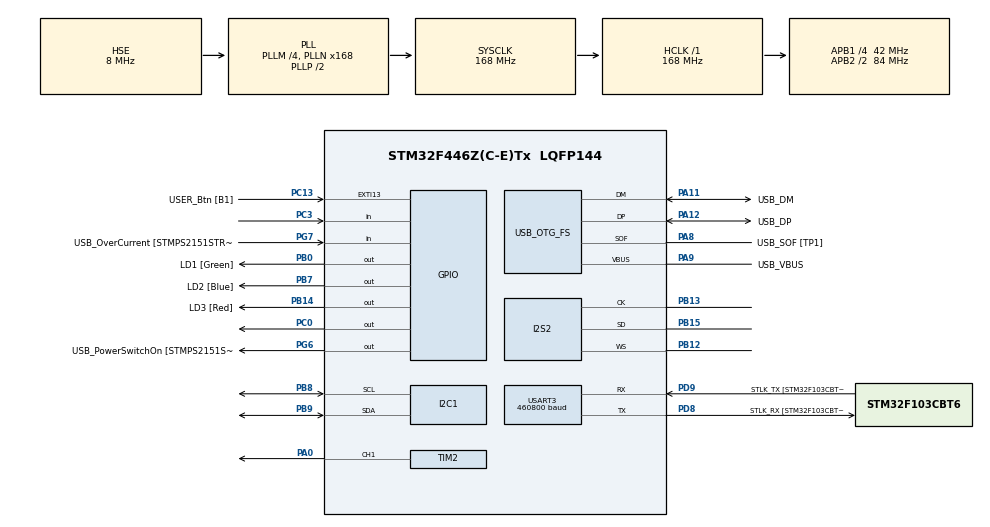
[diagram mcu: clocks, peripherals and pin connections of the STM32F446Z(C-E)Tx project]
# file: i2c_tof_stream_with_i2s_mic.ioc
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Dma.Request0=SPI2_RX
Dma.SPI2_RX.0.Direction=DMA_PERIPH_TO_MEMORY
Dma.SPI2_RX.0.FIFOMode=DMA_FIFOMODE_DISABLE
Dma.SPI2_RX.0.Instance=DMA1_Stream3
Dma.SPI2_RX.0.MemDataAlignment=DMA_MDATAALIGN_HALFWORD
Dma.SPI2_RX.0.MemInc=DMA_MINC_ENABLE
Dma.SPI2_RX.0.Mode=DMA_CIRCULAR
Dma.SPI2_RX.0.PeriphDataAlignment=DMA_PDATAALIGN_HALFWORD
Dma.SPI2_RX.0.PeriphInc=DMA_PINC_DISABLE
Dma.SPI2_RX.0.Priority=DMA_PRIORITY_VERY_HIGH
I2C1.I2C_Mode=I2C_Fast
I2S2.AudioFreq=I2S_AUDIOFREQ_16K
I2S2.DataFormat=I2S_DATAFORMAT_16B_EXTENDED
I2S2.ErrorAudioFreq=-0.26 %
I2S2.FullDuplexMode=I2S_FULLDUPLEXMODE_DISABLE
I2S2.Instance=SPI$Index
I2S2.Mode=I2S_MODE_MASTER_RX
I2S2.RealAudioFreq=15.957 KHz
I2S2.VirtualMode=I2S_MODE_MASTER
Mcu.Family=STM32F4
Mcu.Name=STM32F446Z(C-E)Tx
Mcu.Package=LQFP144
NVIC.DMA1_Stream3_IRQn=true\:0\:0\:false\:false\:true\:false\:true\:true
NVIC.PriorityGroup=NVIC_PRIORITYGROUP_4
PA0-WKUP.Signal=S_TIM2_CH1_ETR
PA10.GPIO_Label=USB_ID
PA10.Signal=USB_OTG_FS_ID
PA11.GPIO_Label=USB_DM
PA11.Mode=Device_Only
PA11.Signal=USB_OTG_FS_DM
PA12.GPIO_Label=USB_DP
PA12.Mode=Device_Only
PA12.Signal=USB_OTG_FS_DP
PA13.GPIO_Label=TMS
PA13.Mode=Serial_Wire
PA13.Signal=SYS_JTMS-SWDIO
PA14.GPIO_Label=TCK
PA14.Mode=Serial_Wire
PA14.Signal=SYS_JTCK-SWCLK
PA8.GPIO_Label=USB_SOF [TP1]
PA8.Mode=Activate_SOF_FS
PA8.Signal=USB_OTG_FS_SOF
PA9.GPIO_Label=USB_VBUS
PA9.Mode=Activate_VBUS
PA9.Signal=USB_OTG_FS_VBUS
PB0.GPIO_Label=LD1 [Green]
PB0.Signal=GPIO_Output
PB12.Mode=Half_Duplex_Master
PB12.Signal=I2S2_WS
PB13.Mode=Half_Duplex_Master
PB13.Signal=I2S2_CK
PB14.GPIO_Label=LD3 [Red]
PB14.Signal=GPIO_Output
PB15.Mode=Half_Duplex_Master
PB15.Signal=I2S2_SD
PB7.GPIO_Label=LD2 [Blue]
PB7.Signal=GPIO_Output
PB8.Mode=I2C
PB8.Signal=I2C1_SCL
PB9.Mode=I2C
PB9.Signal=I2C1_SDA
PC0.Signal=GPIO_Output
PC13.GPIO_Label=USER_Btn [B1]
PC13.Signal=GPXTI13
PC14-OSC32_IN.Mode=LSE-External-Oscillator
PC14-OSC32_IN.Signal=RCC_OSC32_IN
PC15-OSC32_OUT.Mode=LSE-External-Oscillator
PC15-OSC32_OUT.Signal=RCC_OSC32_OUT
PC3.Signal=GPIO_Input
PD8.GPIO_Label=STLK_RX [STM32F103CBT6_PA3]
PD8.Mode=Asynchronous
PD8.Signal=USART3_TX
PD9.GPIO_Label=STLK_TX [STM32F103CBT6_PA2]
PD9.Mode=Asynchronous
PD9.Signal=USART3_RX
PG6.GPIO_Label=USB_PowerSwitchOn [STMPS2151STR_EN]
PG6.Signal=GPIO_Output
PG7.GPIO_Label=USB_OverCurrent [STMPS2151STR_FAULT]
PG7.Signal=GPIO_Input
PH0-OSC_IN.GPIO_Label=MCO [STM32F103CBT6_PA8]
PH0-OSC_IN.Mode=HSE-External-Clock-Source
PH0-OSC_IN.Signal=RCC_OSC_IN
PH1-OSC_OUT.Mode=HSE-External-Clock-Source
PH1-OSC_OUT.Signal=RCC_OSC_OUT
ProjectManager.HeapSize=0x200
ProjectManager.StackSize=0x400
ProjectManager.TargetToolchain=STM32CubeIDE
RCC.48MHZClocksFreq_Value=24000000
RCC.AHBFreq_Value=168000000
RCC.APB1CLKDivider=RCC_HCLK_DIV4
RCC.APB1Freq_Value=42000000
RCC.APB1TimFreq_Value=84000000
RCC.APB2CLKDivider=RCC_HCLK_DIV2
RCC.APB2Freq_Value=84000000
RCC.APB2TimFreq_Value=168000000
RCC.CortexFreq_Value=168000000
RCC.HCLKFreq_Value=168000000
RCC.HSE_VALUE=8000000
RCC.HSI_VALUE=16000000
RCC.PLLI2SM=4
RCC.PLLM=4
RCC.PLLMUL=RCC_PLL_MUL9
RCC.PLLN=168
RCC.PLLQ=7
RCC.PRESCALERUSB=RCC_USBCLKSOURCE_PLL_DIV1_5
RCC.SYSCLKFreq_VALUE=168000000
RCC.SYSCLKSource=RCC_SYSCLKSOURCE_PLLCLK
RCC.SYSCLKSourceVirtual=RCC_SYSCLKSOURCE_PLLCLK
RCC.USBFreq_Value=48000000
RCC.VCOOutputFreq_Value=336000000
SH.S_TIM2_CH1_ETR.0=TIM2_CH1,PWM Generation1 CH1
TIM2.Channel-PWM\ Generation1\ CH1=TIM_CHANNEL_1
TIM2.Period=19999
TIM2.Prescaler=83
USART3.BaudRate=460800
USART3.VirtualMode=VM_ASYNC
USB_OTG_FS.VirtualMode=Device_Only
VP_TIM2_VS_ClockSourceINT.Mode=Internal
board=NUCLEO-F446ZE

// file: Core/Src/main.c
/* USER CODE BEGIN Header */
/**
 ******************************************************************************
 * @file           : main.c
 * @brief          : Main program body
 ******************************************************************************
 * @attention
 *
 * Copyright (c) 2026 STMicroelectronics.
 * All rights reserved.
 *
 * This software is licensed under terms that can be found in the LICENSE file
 * in the root directory of this software component.
 * If no LICENSE file comes with this software, it is provided AS-IS.
 *
 ******************************************************************************
 */
/* USER CODE END Header */
#include "main.h"

/* USER CODE BEGIN Includes */
#include "VL53L1X_api.h"
#include <stdio.h>
/* USER CODE END Includes */

/* USER CODE BEGIN PD */
#define I2S_DMA_SAMPLES 1024
#define HALF_SAMPLES (I2S_DMA_SAMPLES / 2)

// ToF and Recording Settings
#define TOF_THRESHOLD_MM 100 // trigger if an object is closer than 100mm
#define MAX_CHUNKS 125       // 125 chunks * 256 bytes = 32,000 bytes = exactly 2 seconds of 8kHz audio
/* USER CODE END PD */

I2C_HandleTypeDef hi2c1;

I2S_HandleTypeDef hi2s2;
DMA_HandleTypeDef hdma_spi2_rx;

TIM_HandleTypeDef htim2;

UART_HandleTypeDef huart3;

PCD_HandleTypeDef hpcd_USB_OTG_FS;

void SystemClock_Config(void);
static void MX_GPIO_Init(void);
static void MX_DMA_Init(void);
static void MX_I2S2_Init(void);
static void MX_USART3_UART_Init(void);
static void MX_USB_OTG_FS_PCD_Init(void);
static void MX_I2C1_Init(void);
static void MX_TIM2_Init(void);

/* USER CODE BEGIN 0 */ //
void set_servo_angle(uint8_t speed_throttle) // 0-360 motor
{
    // Constrain the angle to prevent breaking the servo
    if (speed_throttle > 180) {
        speed_throttle = 180;
    }

    // Map 0-180 degrees to 1000-2000 microseconds
    uint16_t pulse_width = 1000 + ((speed_throttle * 1000) / 180);

    // Safely update the timer register
    __HAL_TIM_SET_COMPARE(&htim2, TIM_CHANNEL_1, pulse_width);
}

void servo_control(void)
{
    HAL_GPIO_TogglePin(GPIOB, LD2_Pin);

    set_servo_angle(180);   // Change this from 0 to 90
    HAL_Delay(300);
    set_servo_angle(90);

}

static uint16_t i2s_rx_buf[I2S_DMA_SAMPLES];
static int16_t pcm_tx_buf[HALF_SAMPLES / 4]; // Downsampled buffer

volatile uint8_t half_ready = 0;
volatile uint8_t full_ready = 0;

static int32_t dc_offset = 0;
static uint8_t sync_header[4] = { 0xAA, 0xBB, 0xCC, 0xDD };

// State machine
typedef enum {
	STATE_IDLE, STATE_RECORDING
} SystemState;

SystemState current_state = STATE_IDLE;
uint32_t chunk_count = 0;
uint16_t dev = 0x52; // Default I2C address for VL53L1X

static void convert_i2s_block_to_pcm16(uint16_t *src, int16_t *dst,
		uint32_t count_halfwords) {
	uint32_t out_idx = 0;

	// Step by 4 to downsample from 16kHz to 8kHz
	for (uint32_t i = 0; i < count_halfwords; i += 4) {
		int16_t raw_sample = (int16_t) src[i];

		// High-pass filter to remove DC offset
		dc_offset = dc_offset + ((raw_sample - dc_offset) >> 6);
		dst[out_idx++] = (int16_t) (raw_sample - dc_offset);
	}
}

void HAL_I2S_RxHalfCpltCallback(I2S_HandleTypeDef *hi2s) {
	if (hi2s->Instance == SPI2) {
		half_ready = 1;
	}
}

void HAL_I2S_RxCpltCallback(I2S_HandleTypeDef *hi2s) {
	if (hi2s->Instance == SPI2) {
		full_ready = 1;
	}
}
/* USER CODE END 0 */

int main(void)
{

  /* MCU Configuration--------------------------------------------------------*/

  /* Reset of all peripherals, Initializes the Flash interface and the Systick. */
  HAL_Init();

  /* Configure the system clock */
  SystemClock_Config();

  /* Initialize all configured peripherals */
  MX_GPIO_Init();
  MX_DMA_Init();
  MX_I2S2_Init();
  MX_USART3_UART_Init();
  MX_USB_OTG_FS_PCD_Init();
  MX_I2C1_Init();
  MX_TIM2_Init();
  /* USER CODE BEGIN 2 */
	// 1. Boot the ToF Sensor by pulling XSHUT High
	/*HAL_GPIO_WritePin(GPIOC, GPIO_PIN_0, GPIO_PIN_SET);
	 HAL_Delay(50); // Give it time to boot

	 uint8_t sensorState = 0;
	 while (sensorState == 0) {
	 VL53L1X_BootState(dev, &sensorState);
	 HAL_Delay(2);
	 }

	 // 2. Initialize ToF Sensor for fast, short-range detection
	 VL53L1X_SensorInit(dev);
	 VL53L1X_SetDistanceMode(dev, 1); // 1 = Short Distance Mode
	 VL53L1X_SetTimingBudgetInMs(dev, 33);
	 VL53L1X_SetInterMeasurementInMs(dev, 33);
	 VL53L1X_StartRanging(dev);*/

	// 1. Turn on RED LED to indicate boot is starting
	HAL_GPIO_WritePin(GPIOB, LD3_Pin, GPIO_PIN_SET);
	HAL_TIM_PWM_Start(&htim2, TIM_CHANNEL_1);
	servo_control(); //test servo functionality

	// 2. Force the ToF Sensor OFF (Pull XSHUT Low)
	HAL_GPIO_WritePin(GPIOC, GPIO_PIN_0, GPIO_PIN_RESET);
	HAL_Delay(10); // Hold it in reset

	// 3. Wake the ToF Sensor UP (Pull XSHUT High)
	HAL_GPIO_WritePin(GPIOC, GPIO_PIN_0, GPIO_PIN_SET);
	HAL_Delay(50); // Give it time to boot internally

	uint8_t sensorState = 0;
	while (sensorState == 0) {
		VL53L1X_BootState(dev, &sensorState);
		HAL_Delay(2);
	}

	// 4. Initialize ToF Sensor for fast, short-range detection
	VL53L1X_SensorInit(dev);
	VL53L1X_SetDistanceMode(dev, 1);
	VL53L1X_SetTimingBudgetInMs(dev, 33);
	VL53L1X_SetInterMeasurementInMs(dev, 33);
	VL53L1X_StartRanging(dev);

	// 5. Success! Turn OFF Red LED, Turn ON Green LED
	HAL_GPIO_WritePin(GPIOB, LD3_Pin, GPIO_PIN_RESET);
	HAL_GPIO_WritePin(GPIOB, LD1_Pin, GPIO_PIN_SET);

  /* USER CODE END 2 */

  /* Infinite loop */
  /* USER CODE BEGIN WHILE */
	while (1) {
		if (current_state == STATE_IDLE) {
			uint8_t dataReady = 0;
			VL53L1X_CheckForDataReady(dev, &dataReady);

			if (dataReady) {
				uint16_t distance = 0;
				VL53L1X_GetDistance(dev, &distance);
				VL53L1X_ClearInterrupt(dev); // Clear the flag so it can measure again

				// TRIGGER DETECTED!
				if (distance < TOF_THRESHOLD_MM && distance > 0) {

					current_state = STATE_RECORDING;
					chunk_count = 0;
					half_ready = 0;
					full_ready = 0;

					// Stop ToF Ranging so it doesn't choke
					VL53L1X_StopRanging(dev);

					// 1. START RECORDING FIRST!
					// This is non-blocking. The hardware immediately starts collecting
					// audio in the background without pausing the CPU.
					HAL_I2S_Receive_DMA(&hi2s2, i2s_rx_buf, I2S_DMA_SAMPLES);

					// 2. SEND TEXT SECOND!
					// While the microphone is filling the first buffer, the CPU
					// uses its free time to tell Python the distance.
					char msg[32];
					uint16_t msg_len = sprintf(msg, "DIST:%d\n", distance);
					HAL_UART_Transmit(&huart3, (uint8_t*) msg, msg_len, HAL_MAX_DELAY);
				}
			}
		} else if (current_state == STATE_RECORDING) {
			if (half_ready) {
				half_ready = 0;
				convert_i2s_block_to_pcm16(&i2s_rx_buf[0], pcm_tx_buf,
				HALF_SAMPLES);
				HAL_UART_Transmit(&huart3, sync_header, 4, HAL_MAX_DELAY);
				HAL_UART_Transmit(&huart3, (uint8_t*) pcm_tx_buf, 256, HAL_MAX_DELAY);
				chunk_count++;
			}

			if (full_ready) {
				full_ready = 0;
				convert_i2s_block_to_pcm16(&i2s_rx_buf[HALF_SAMPLES],
						pcm_tx_buf, HALF_SAMPLES);
				HAL_UART_Transmit(&huart3, sync_header, 4, HAL_MAX_DELAY);
				HAL_UART_Transmit(&huart3, (uint8_t*) pcm_tx_buf, 256, HAL_MAX_DELAY);
				chunk_count++;
			}

			// If we have transmitted exactly 2 seconds of audio
			if (chunk_count >= MAX_CHUNKS) {
				// Stop the microphone!
				HAL_I2S_DMAStop(&hi2s2);

				// Wait 2 second so we don't accidentally double-trigger
				HAL_Delay(2000);

				// Wake the ToF back up
				VL53L1X_StartRanging(dev);
				// --------------------------------------

				// Go back to waiting for the next object
				current_state = STATE_IDLE;
			}
		}

	}
    /* USER CODE END WHILE */

}

void SystemClock_Config(void)
{
  RCC_OscInitTypeDef RCC_OscInitStruct = {0};
  RCC_ClkInitTypeDef RCC_ClkInitStruct = {0};

  /** Configure the main internal regulator output voltage
  */
  __HAL_RCC_PWR_CLK_ENABLE();
  __HAL_PWR_VOLTAGESCALING_CONFIG(PWR_REGULATOR_VOLTAGE_SCALE1);

  /** Initializes the RCC Oscillators according to the specified parameters
  * in the RCC_OscInitTypeDef structure.
  */
  RCC_OscInitStruct.OscillatorType = RCC_OSCILLATORTYPE_HSE;
  RCC_OscInitStruct.HSEState = RCC_HSE_BYPASS;
  RCC_OscInitStruct.PLL.PLLState = RCC_PLL_ON;
  RCC_OscInitStruct.PLL.PLLSource = RCC_PLLSOURCE_HSE;
  RCC_OscInitStruct.PLL.PLLM = 4;
  RCC_OscInitStruct.PLL.PLLN = 168;
  RCC_OscInitStruct.PLL.PLLP = RCC_PLLP_DIV2;
  RCC_OscInitStruct.PLL.PLLQ = 7;
  RCC_OscInitStruct.PLL.PLLR = 2;
  if (HAL_RCC_OscConfig(&RCC_OscInitStruct) != HAL_OK)
  {
    Error_Handler();
  }

  /** Initializes the CPU, AHB and APB buses clocks
  */
  RCC_ClkInitStruct.ClockType = RCC_CLOCKTYPE_HCLK|RCC_CLOCKTYPE_SYSCLK
                              |RCC_CLOCKTYPE_PCLK1|RCC_CLOCKTYPE_PCLK2;
  RCC_ClkInitStruct.SYSCLKSource = RCC_SYSCLKSOURCE_PLLCLK;
  RCC_ClkInitStruct.AHBCLKDivider = RCC_SYSCLK_DIV1;
  RCC_ClkInitStruct.APB1CLKDivider = RCC_HCLK_DIV4;
  RCC_ClkInitStruct.APB2CLKDivider = RCC_HCLK_DIV2;

  if (HAL_RCC_ClockConfig(&RCC_ClkInitStruct, FLASH_LATENCY_5) != HAL_OK)
  {
    Error_Handler();
  }
}

static void MX_I2C1_Init(void)
{

  hi2c1.Instance = I2C1;
  hi2c1.Init.ClockSpeed = 400000;
  hi2c1.Init.DutyCycle = I2C_DUTYCYCLE_2;
  hi2c1.Init.OwnAddress1 = 0;
  hi2c1.Init.AddressingMode = I2C_ADDRESSINGMODE_7BIT;
  hi2c1.Init.DualAddressMode = I2C_DUALADDRESS_DISABLE;
  hi2c1.Init.OwnAddress2 = 0;
  hi2c1.Init.GeneralCallMode = I2C_GENERALCALL_DISABLE;
  hi2c1.Init.NoStretchMode = I2C_NOSTRETCH_DISABLE;
  if (HAL_I2C_Init(&hi2c1) != HAL_OK)
  {
    Error_Handler();
  }

}

static void MX_I2S2_Init(void)
{

  hi2s2.Instance = SPI2;
  hi2s2.Init.Mode = I2S_MODE_MASTER_RX;
  hi2s2.Init.Standard = I2S_STANDARD_PHILIPS;
  hi2s2.Init.DataFormat = I2S_DATAFORMAT_16B_EXTENDED;
  hi2s2.Init.MCLKOutput = I2S_MCLKOUTPUT_DISABLE;
  hi2s2.Init.AudioFreq = I2S_AUDIOFREQ_16K;
  hi2s2.Init.CPOL = I2S_CPOL_LOW;
  hi2s2.Init.ClockSource = I2S_CLOCK_PLL;
  hi2s2.Init.FullDuplexMode = I2S_FULLDUPLEXMODE_DISABLE;
  if (HAL_I2S_Init(&hi2s2) != HAL_OK)
  {
    Error_Handler();
  }

}

static void MX_TIM2_Init(void)
{

  TIM_ClockConfigTypeDef sClockSourceConfig = {0};
  TIM_MasterConfigTypeDef sMasterConfig = {0};
  TIM_OC_InitTypeDef sConfigOC = {0};

  htim2.Instance = TIM2;
  htim2.Init.Prescaler = 83;
  htim2.Init.CounterMode = TIM_COUNTERMODE_UP;
  htim2.Init.Period = 19999;
  htim2.Init.ClockDivision = TIM_CLOCKDIVISION_DIV1;
  htim2.Init.AutoReloadPreload = TIM_AUTORELOAD_PRELOAD_DISABLE;
  if (HAL_TIM_Base_Init(&htim2) != HAL_OK)
  {
    Error_Handler();
  }
  sClockSourceConfig.ClockSource = TIM_CLOCKSOURCE_INTERNAL;
  if (HAL_TIM_ConfigClockSource(&htim2, &sClockSourceConfig) != HAL_OK)
  {
    Error_Handler();
  }
  if (HAL_TIM_PWM_Init(&htim2) != HAL_OK)
  {
    Error_Handler();
  }
  sMasterConfig.MasterOutputTrigger = TIM_TRGO_RESET;
  sMasterConfig.MasterSlaveMode = TIM_MASTERSLAVEMODE_DISABLE;
  if (HAL_TIMEx_MasterConfigSynchronization(&htim2, &sMasterConfig) != HAL_OK)
  {
    Error_Handler();
  }
  sConfigOC.OCMode = TIM_OCMODE_PWM1;
  sConfigOC.Pulse = 0;
  sConfigOC.OCPolarity = TIM_OCPOLARITY_HIGH;
  sConfigOC.OCFastMode = TIM_OCFAST_DISABLE;
  if (HAL_TIM_PWM_ConfigChannel(&htim2, &sConfigOC, TIM_CHANNEL_1) != HAL_OK)
  {
    Error_Handler();
  }
  HAL_TIM_MspPostInit(&htim2);

}

static void MX_USART3_UART_Init(void)
{

  huart3.Instance = USART3;
  huart3.Init.BaudRate = 460800;
  huart3.Init.WordLength = UART_WORDLENGTH_8B;
  huart3.Init.StopBits = UART_STOPBITS_1;
  huart3.Init.Parity = UART_PARITY_NONE;
  huart3.Init.Mode = UART_MODE_TX_RX;
  huart3.Init.HwFlowCtl = UART_HWCONTROL_NONE;
  huart3.Init.OverSampling = UART_OVERSAMPLING_16;
  if (HAL_UART_Init(&huart3) != HAL_OK)
  {
    Error_Handler();
  }

}

static void MX_USB_OTG_FS_PCD_Init(void)
{

  hpcd_USB_OTG_FS.Instance = USB_OTG_FS;
  hpcd_USB_OTG_FS.Init.dev_endpoints = 6;
  hpcd_USB_OTG_FS.Init.speed = PCD_SPEED_FULL;
  hpcd_USB_OTG_FS.Init.dma_enable = DISABLE;
  hpcd_USB_OTG_FS.Init.phy_itface = PCD_PHY_EMBEDDED;
  hpcd_USB_OTG_FS.Init.Sof_enable = ENABLE;
  hpcd_USB_OTG_FS.Init.low_power_enable = DISABLE;
  hpcd_USB_OTG_FS.Init.lpm_enable = DISABLE;
  hpcd_USB_OTG_FS.Init.vbus_sensing_enable = ENABLE;
  hpcd_USB_OTG_FS.Init.use_dedicated_ep1 = DISABLE;
  if (HAL_PCD_Init(&hpcd_USB_OTG_FS) != HAL_OK)
  {
    Error_Handler();
  }

}

static void MX_DMA_Init(void)
{

  /* DMA controller clock enable */
  __HAL_RCC_DMA1_CLK_ENABLE();

  /* DMA interrupt init */
  /* DMA1_Stream3_IRQn interrupt configuration */
  HAL_NVIC_SetPriority(DMA1_Stream3_IRQn, 0, 0);
  HAL_NVIC_EnableIRQ(DMA1_Stream3_IRQn);

}

static void MX_GPIO_Init(void)
{
  GPIO_InitTypeDef GPIO_InitStruct = {0};

  /* GPIO Ports Clock Enable */
  __HAL_RCC_GPIOC_CLK_ENABLE();
  __HAL_RCC_GPIOH_CLK_ENABLE();
  __HAL_RCC_GPIOA_CLK_ENABLE();
  __HAL_RCC_GPIOB_CLK_ENABLE();
  __HAL_RCC_GPIOD_CLK_ENABLE();
  __HAL_RCC_GPIOG_CLK_ENABLE();

  /*Configure GPIO pin Output Level */
  HAL_GPIO_WritePin(GPIOC, GPIO_PIN_0, GPIO_PIN_RESET);

  /*Configure GPIO pin Output Level */
  HAL_GPIO_WritePin(GPIOB, LD1_Pin|LD3_Pin|LD2_Pin, GPIO_PIN_RESET);

  /*Configure GPIO pin Output Level */
  HAL_GPIO_WritePin(USB_PowerSwitchOn_GPIO_Port, USB_PowerSwitchOn_Pin, GPIO_PIN_RESET);

  /*Configure GPIO pin : USER_Btn_Pin */
  GPIO_InitStruct.Pin = USER_Btn_Pin;
  GPIO_InitStruct.Mode = GPIO_MODE_IT_RISING;
  GPIO_InitStruct.Pull = GPIO_NOPULL;
  HAL_GPIO_Init(USER_Btn_GPIO_Port, &GPIO_InitStruct);

  /*Configure GPIO pin : PC0 */
  GPIO_InitStruct.Pin = GPIO_PIN_0;
  GPIO_InitStruct.Mode = GPIO_MODE_OUTPUT_PP;
  GPIO_InitStruct.Pull = GPIO_NOPULL;
  GPIO_InitStruct.Speed = GPIO_SPEED_FREQ_LOW;
  HAL_GPIO_Init(GPIOC, &GPIO_InitStruct);

  /*Configure GPIO pin : PC3 */
  GPIO_InitStruct.Pin = GPIO_PIN_3;
  GPIO_InitStruct.Mode = GPIO_MODE_INPUT;
  GPIO_InitStruct.Pull = GPIO_NOPULL;
  HAL_GPIO_Init(GPIOC, &GPIO_InitStruct);

  /*Configure GPIO pins : LD1_Pin LD3_Pin LD2_Pin */
  GPIO_InitStruct.Pin = LD1_Pin|LD3_Pin|LD2_Pin;
  GPIO_InitStruct.Mode = GPIO_MODE_OUTPUT_PP;
  GPIO_InitStruct.Pull = GPIO_NOPULL;
  GPIO_InitStruct.Speed = GPIO_SPEED_FREQ_LOW;
  HAL_GPIO_Init(GPIOB, &GPIO_InitStruct);

  /*Configure GPIO pin : USB_PowerSwitchOn_Pin */
  GPIO_InitStruct.Pin = USB_PowerSwitchOn_Pin;
  GPIO_InitStruct.Mode = GPIO_MODE_OUTPUT_PP;
  GPIO_InitStruct.Pull = GPIO_NOPULL;
  GPIO_InitStruct.Speed = GPIO_SPEED_FREQ_LOW;
  HAL_GPIO_Init(USB_PowerSwitchOn_GPIO_Port, &GPIO_InitStruct);

  /*Configure GPIO pin : USB_OverCurrent_Pin */
  GPIO_InitStruct.Pin = USB_OverCurrent_Pin;
  GPIO_InitStruct.Mode = GPIO_MODE_INPUT;
  GPIO_InitStruct.Pull = GPIO_NOPULL;
  HAL_GPIO_Init(USB_OverCurrent_GPIO_Port, &GPIO_InitStruct);

}

void Error_Handler(void)
{
  /* USER CODE BEGIN Error_Handler_Debug */
	/* User can add his own implementation to report the HAL error return state */
	__disable_irq();
	HAL_GPIO_WritePin(GPIOB, LD3_Pin, GPIO_PIN_SET);
	while (1) {
	}
  /* USER CODE END Error_Handler_Debug */
}
